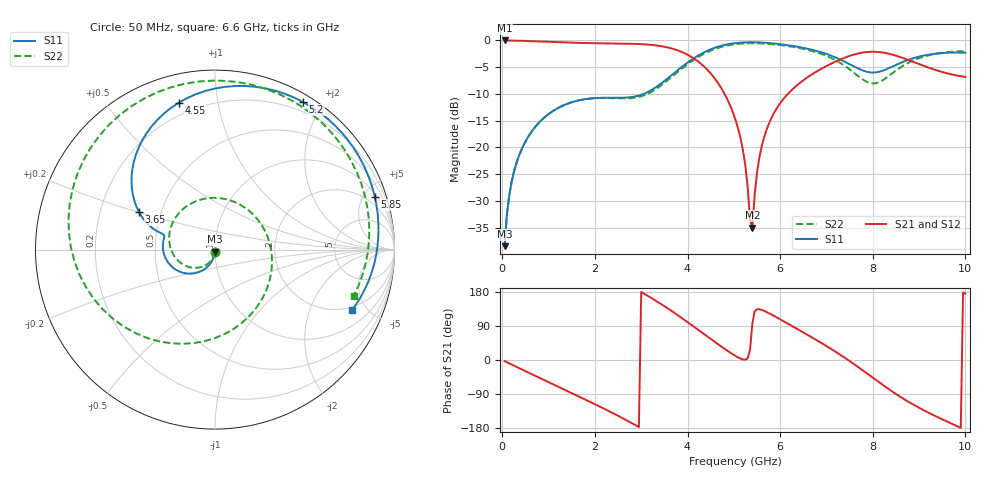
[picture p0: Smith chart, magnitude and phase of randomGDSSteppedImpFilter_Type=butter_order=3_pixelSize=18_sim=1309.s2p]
! freq	dB(S11)	phase(S11)	dB(S12)	phase(S12)
!  dB(S21)	phase(S21)	dB(S22)	phase(S22)
!S-par simulation data
#  GHz  S  DB  R 50
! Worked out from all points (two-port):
!   200 points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, 50 MHz to 10 GHz, reference 50 ohm
!   highest |S21| = 0.00 dB at 50 MHz (marker M1); lowest = -35.0 dB at 5.4 GHz (marker M2)
!   |S21| within 3 dB of the highest: start of sweep to 4.069 GHz; 7.461 GHz to 8.556 GHz (1.095 GHz wide, 13.7 % of centre)
!   lowest |S11| = -38.4 dB at 50 MHz (marker M3), VSWR 1.02, Z = 49.9 - j1.19 ohm
!   |S11| at or under -10 dB: start of sweep to 3.05 GHz
!   |S22| runs from -38.4 to -0.5 dB; largest |S21 - S12| = 0
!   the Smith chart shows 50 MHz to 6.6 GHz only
!   S11 on the Smith chart (normalised r, x): 50 MHz: 1.00, -0.02; 3.65 GHz: 0.38, +0.20; 4.55 GHz: 0.14, +0.77; 5.2 GHz: 0.09, +1.76; 5.85 GHz: 1.23, +5.99; 6.6 GHz: 1.82, -4.01
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0.05  -38.43 -92.8  -0.00 -3.0  -0.00 -3.0  -38.44 -93.6
0.2  -26.49 -100.9  -0.03 -11.9  -0.03 -11.9  -26.49 -104.4
0.5  -18.89 -115.9  -0.09 -29.5  -0.09 -29.5  -18.91 -124.9
1.15  -12.88 -146.4  -0.31 -67.2  -0.31 -67.2  -12.89 -169.5
1.75  -11.02 -171.3  -0.48 -101.9  -0.48 -101.9  -11.05 146.1
2.7  -10.66 164.8  -0.60 -160.2  -0.60 -160.2  -10.83 53.9
3.4  -8.24 160.0  -1.02 149.9  -1.02 149.9  -8.59 -42.3
3.65  -6.53 153.8  -1.48 129.9  -1.48 129.9  -6.87 -76.6
4.1  -3.53 132.8  -3.16 91.1  -3.16 91.1  -3.83 -133.9
4.55  -1.48 103.8  -6.69 50.9  -6.69 50.9  -1.73 173.4
5.05  -0.48 69.3  -15.23 9.8  -15.23 9.8  -0.68 120.2
5.2  -0.38 59.2  -20.69 1.4  -20.69 1.4  -0.57 105.3
5.4  -0.34 46.1  -34.96 96.6  -34.96 96.6  -0.52 86.2
5.55  -0.37 36.5  -21.92 134.0  -21.92 134.0  -0.55 72.4
5.85  -0.56 18.2  -13.84 117.6  -13.84 117.6  -0.72 45.8
6.6  -1.57 -23.6  -6.83 65.7  -6.83 65.7  -1.78 -18.3
6.7  -1.77 -28.8  -6.27 58.6  -6.27 58.6  -2.00 -27.2
7.25  -3.38 -54.5  -3.73 17.6  -3.73 17.6  -3.95 -81.7
7.75  -5.50 -67.2  -2.32 -24.4  -2.32 -24.4  -7.09 -153.4
8.35  -5.18 -68.4  -2.49 -77.4  -2.49 -77.4  -6.61 89.7
9.1  -2.82 -95.6  -4.74 -132.5  -4.74 -132.5  -3.03 7.3
10  -2.29 -144.8  -6.81 175.3  -6.81 175.3  -1.98 -45.0
